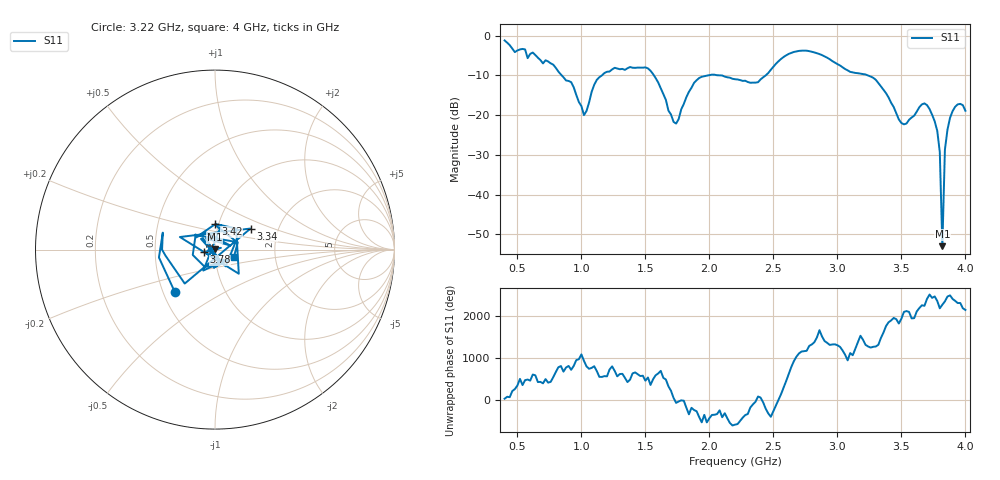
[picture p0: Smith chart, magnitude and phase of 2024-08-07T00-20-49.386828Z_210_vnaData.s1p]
!Created with skrf (http://scikit-rf.org).
# Hz S RI R 50.0
!freq ReS11 ImS11
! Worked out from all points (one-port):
!   181 points, 400 MHz to 4 GHz, reference 50 ohm
!   lowest |S11| = -53.0 dB at 3.82 GHz (marker M1), VSWR 1.00, Z = 50 + j0.218 ohm
!   |S11| at or under -10 dB: 1.567 GHz to 1.99 GHz (423.7 MHz wide, 23.8 % of centre); 2.082 GHz to 2.44 GHz (358.5 MHz wide, 15.9 % of centre); 3.238 GHz to end of sweep (the widest 3 of 4)
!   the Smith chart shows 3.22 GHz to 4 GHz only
!   S11 on the Smith chart (normalised r, x): 3.22 GHz: 0.58, -0.30; 3.34 GHz: 1.44, +0.36; 3.42 GHz: 0.97, +0.28; 3.78 GHz: 0.88, -0.02; 4 GHz: 1.23, -0.11
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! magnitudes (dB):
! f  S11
! 400 MHz  -1.2
! 860 MHz  -10.5
! 920 MHz  -11.7
! 1.02 GHz  -20.0
! 1.12 GHz  -11.1
! 1.3 GHz  -8.4
! 1.52 GHz  -8.2
! 1.6 GHz  -11.8
! 1.72 GHz  -21.7
! 1.76 GHz  -21.0
! 1.92 GHz  -10.7
! 2.2 GHz  -11.0
! 2.38 GHz  -11.7
! 2.66 GHz  -4.1
! 3.1 GHz  -9.1
! 3.22 GHz  -9.8
! 3.34 GHz  -12.8
! 3.42 GHz  -16.9
! 3.5 GHz  -22.0
! 3.56 GHz  -21.2
! 3.68 GHz  -17.1
! 3.78 GHz  -23.9
! 3.8 GHz  -29.3
! 3.82 GHz  -53.0
! 3.84 GHz  -28.7
! 3.86 GHz  -23.7
! 3.92 GHz  -17.9
! 4 GHz  -18.9
